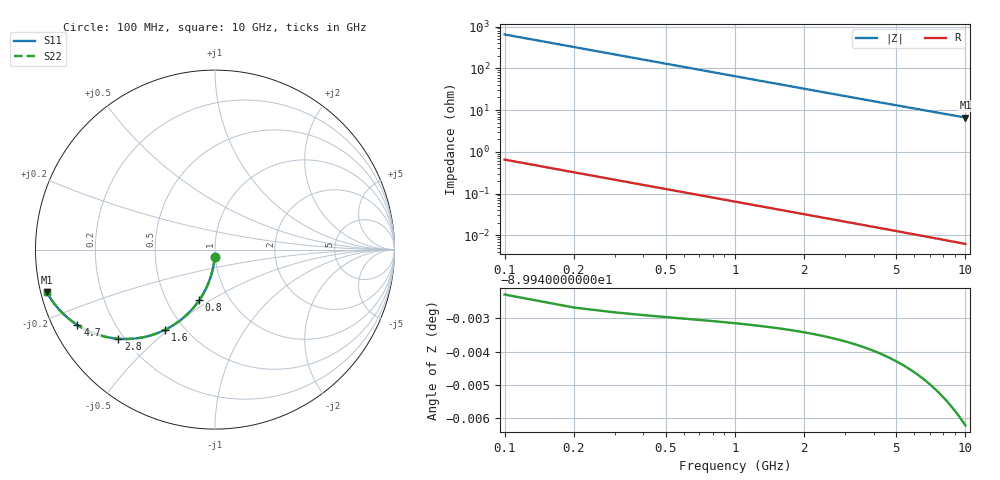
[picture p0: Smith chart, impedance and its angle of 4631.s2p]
# Hz S RI R 50.00
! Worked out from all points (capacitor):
!   100 points, 100 MHz to 10 GHz, reference 50 ohm
!   read as one part in shunt: C = 2.47 pF near 100 MHz
!   lowest |Z| = 6.63 ohm at 10 GHz (marker M1)
!   S11 on the Smith chart (normalised r, x): 100 MHz: 0.99, -0.08; 800 MHz: 0.72, -0.45; 1.6 GHz: 0.40, -0.49; 2.8 GHz: 0.18, -0.38; 4.7 GHz: 0.07, -0.25; 10 GHz: 0.02, -0.12
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1e8  -0.00152 -0.0386  0.9984 -0.0387  0.9984 -0.0387  -0.00152 -0.0386
2e8  -0.00602 -0.0769  0.9939 -0.0771  0.9939 -0.0771  -0.00602 -0.0769
3e8  -0.0134 -0.1144  0.9866 -0.1148  0.9866 -0.1148  -0.0134 -0.1144
4e8  -0.0236 -0.151  0.9764 -0.1514  0.9764 -0.1514  -0.0236 -0.151
5e8  -0.0363 -0.1863  0.9637 -0.1868  0.9637 -0.1868  -0.0363 -0.1863
6e8  -0.0514 -0.22  0.9486 -0.2206  0.9486 -0.2206  -0.0514 -0.22
8e8  -0.0877 -0.282  0.9122 -0.2828  0.9122 -0.2828  -0.0877 -0.282
1e9  -0.1305 -0.3358  0.8695 -0.3369  0.8695 -0.3369  -0.1305 -0.3358
1.2e9  -0.1776 -0.381  0.8224 -0.3823  0.8224 -0.3823  -0.1776 -0.381
1.4e9  -0.227 -0.4177  0.7729 -0.4192  0.7729 -0.4192  -0.227 -0.4177
1.6e9  -0.2771 -0.4462  0.7229 -0.4479  0.7229 -0.4479  -0.2771 -0.4462
1.8e9  -0.3265 -0.4675  0.6735 -0.4694  0.6735 -0.4694  -0.3265 -0.4675
2.3e9  -0.4414 -0.4948  0.5585 -0.4973  0.5585 -0.4973  -0.4414 -0.4948
2.8e9  -0.5391 -0.4965  0.4609 -0.4995  0.4609 -0.4995  -0.5391 -0.4965
3.4e9  -0.6326 -0.4798  0.3674 -0.4834  0.3674 -0.4834  -0.6326 -0.4798
4e9  -0.7041 -0.4538  0.2959 -0.4581  0.2959 -0.4581  -0.7041 -0.4538
4.7e9  -0.7663 -0.4201  0.2336 -0.4252  0.2336 -0.4252  -0.7663 -0.4201
5.1e9  -0.7942 -0.401  0.2058 -0.4066  0.2058 -0.4066  -0.7942 -0.401
5.8e9  -0.8329 -0.3694  0.1671 -0.3757  0.1671 -0.3757  -0.8329 -0.3694
6.7e9  -0.8692 -0.333  0.1308 -0.3403  0.1308 -0.3403  -0.8692 -0.333
8.4e9  -0.9125 -0.2774  0.0874 -0.2866  0.0874 -0.2866  -0.9125 -0.2774
1e10  -0.9366 -0.2375  0.0633 -0.2486  0.0633 -0.2486  -0.9366 -0.2375
